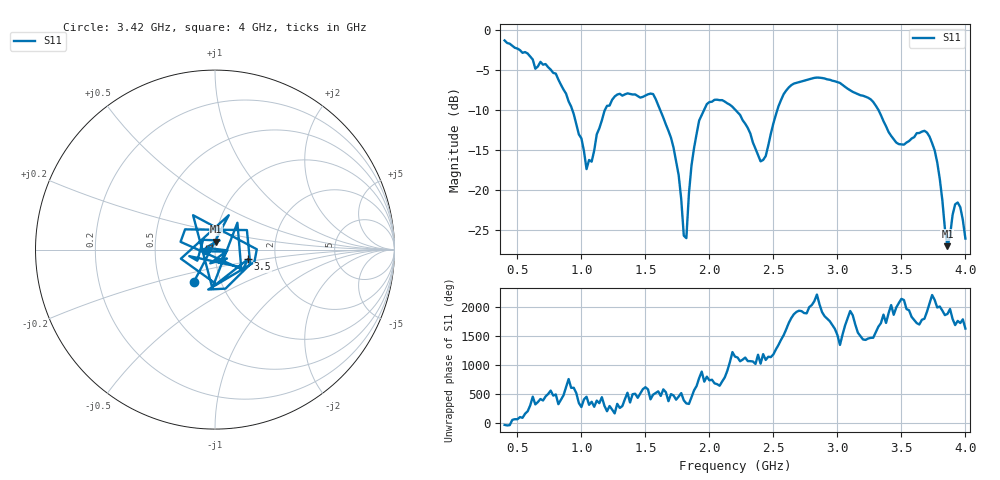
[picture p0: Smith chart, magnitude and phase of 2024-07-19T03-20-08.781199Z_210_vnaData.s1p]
!Created with skrf (http://scikit-rf.org).
# Hz S RI R 50.0
!freq ReS11 ImS11
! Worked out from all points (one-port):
!   181 points, 400 MHz to 4 GHz, reference 50 ohm
!   lowest |S11| = -27.1 dB at 3.86 GHz (marker M1), VSWR 1.09, Z = 50.3 + j4.44 ohm
!   |S11| at or under -10 dB: 1.614 GHz to 1.96 GHz (345.6 MHz wide, 19.3 % of centre); 2.2 GHz to 2.532 GHz (331.4 MHz wide, 14 % of centre); 3.319 GHz to end of sweep (the widest 3 of 4)
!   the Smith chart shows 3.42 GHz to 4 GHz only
!   S11 on the Smith chart (normalised r, x): 3.42 GHz: 0.74, -0.28; 3.5 GHz: 1.44, -0.16; 4 GHz: 0.91, -0.02
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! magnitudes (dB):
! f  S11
! 400 MHz  -1.4
! 860 MHz  -7.5
! 1 GHz  -13.6
! 1.04 GHz  -17.4
! 1.18 GHz  -10.2
! 1.3 GHz  -8.0
! 1.56 GHz  -8.1
! 1.7 GHz  -13.5
! 1.76 GHz  -18.2
! 1.8 GHz  -25.8
! 1.82 GHz  -26.1
! 1.86 GHz  -17.0
! 1.92 GHz  -11.4
! 2.04 GHz  -8.8
! 2.2 GHz  -10.0
! 2.4 GHz  -16.5
! 2.56 GHz  -8.8
! 2.66 GHz  -6.8
! 3.1 GHz  -7.6
! 3.28 GHz  -9.0
! 3.42 GHz  -13.3
! 3.5 GHz  -14.3
! 3.56 GHz  -13.9
! 3.74 GHz  -14.2
! 3.8 GHz  -18.7
! 3.86 GHz  -27.1
! 3.94 GHz  -21.6
! 4 GHz  -26.1
